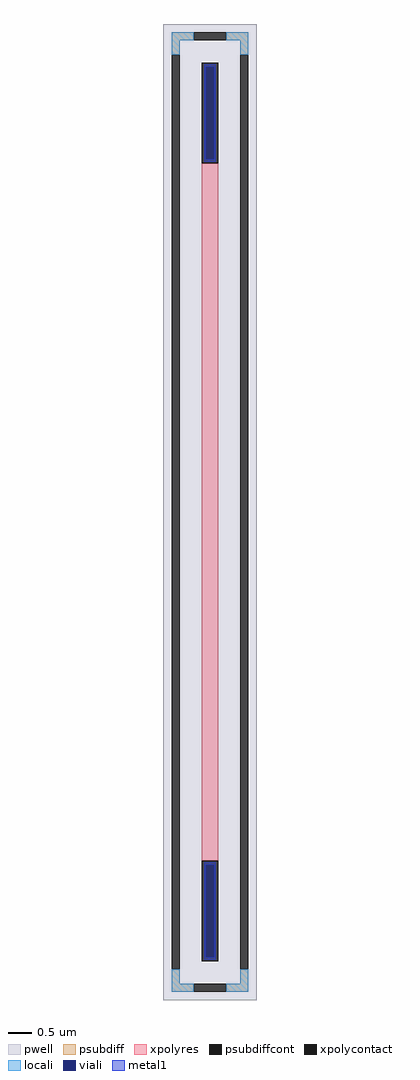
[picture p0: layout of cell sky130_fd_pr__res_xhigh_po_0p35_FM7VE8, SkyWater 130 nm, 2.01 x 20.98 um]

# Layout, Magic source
magic
tech sky130A
magscale 1 2
<< pwell >>
rect -201 -2098 201 2098
<< psubdiff >>
rect -165 2028 -69 2062
rect 69 2028 165 2062
rect -165 1966 -131 2028
rect 131 1966 165 2028
rect -165 -2028 -131 -1966
rect 131 -2028 165 -1966
rect -165 -2062 -69 -2028
rect 69 -2062 165 -2028
<< psubdiffcont >>
rect -69 2028 69 2062
rect -165 -1966 -131 1966
rect 131 -1966 165 1966
rect -69 -2062 69 -2028
<< xpolycontact >>
rect -35 1500 35 1932
rect -35 -1932 35 -1500
<< xpolyres >>
rect -35 -1500 35 1500
<< locali >>
rect -165 2028 -69 2062
rect 69 2028 165 2062
rect -165 1966 -131 2028
rect 131 1966 165 2028
rect -165 -2028 -131 -1966
rect 131 -2028 165 -1966
rect -165 -2062 -69 -2028
rect 69 -2062 165 -2028
<< viali >>
rect -19 1517 19 1914
rect -19 -1914 19 -1517
<< metal1 >>
rect -25 1914 25 1926
rect -25 1517 -19 1914
rect 19 1517 25 1914
rect -25 1505 25 1517
rect -25 -1517 25 -1505
rect -25 -1914 -19 -1517
rect 19 -1914 25 -1517
rect -25 -1926 25 -1914
<< properties >>
string FIXED_BBOX -148 -2045 148 2045
string gencell sky130_fd_pr__res_xhigh_po_0p35
string library sky130
string parameters w 0.350 l 15.0 m 1 nx 1 wmin 0.350 lmin 0.50 rho 2000 val 86.789k dummy 0 dw 0.0 term 188.2 sterm 0.0 caplen 0 wmax 0.350 guard 1 glc 1 grc 1 gtc 1 gbc 1 compatible {sky130_fd_pr__res_xhigh_po_0p35  sky130_fd_pr__res_xhigh_po_0p69 sky130_fd_pr__res_xhigh_po_1p41  sky130_fd_pr__res_xhigh_po_2p85 sky130_fd_pr__res_xhigh_po_5p73} snake 0 full_metal 1 n_guard 0 hv_guard 0 vias 1 viagb 0 viagt 0 viagl 0 viagr 0
<< end >>
